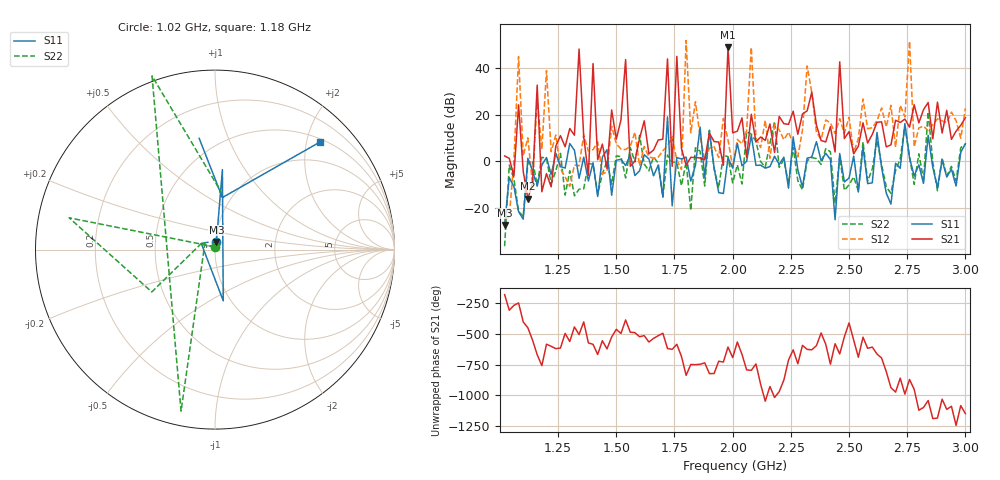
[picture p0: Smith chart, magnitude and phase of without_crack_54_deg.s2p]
# MHz S MA R 50
!  freq  S11  S21  S12  S22
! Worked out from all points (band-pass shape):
!   100 points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, 1.02 GHz to 3 GHz, reference 50 ohm
!   highest |S21| = 49.12 dB at 1.98 GHz (marker M1); lowest = -16.0 dB at 1.12 GHz (marker M2)
!   |S21| within 3 dB of the highest: 1.338896 GHz to 1.341087 GHz (2.191 MHz wide, 0.164 % of centre); 1.978818 GHz to 1.981626 GHz (2.808 MHz wide, 0.142 % of centre)
!   lowest |S11| = -27.3 dB at 1.02 GHz (marker M3), VSWR 1.09, Z = 50.6 + j4.31 ohm
!   |S11| at or under -10 dB: 1.056 GHz to 1.111 GHz (55.47 MHz wide, 5.12 % of centre); 1.934 GHz to 1.965 GHz (31.34 MHz wide, 1.61 % of centre); 2.653 GHz to 2.69 GHz (36.22 MHz wide, 1.36 % of centre) (the widest 3 of 15)
!   |S22| runs from -36.4 to 21.3 dB; largest |S21 - S12| = 3.9e+02
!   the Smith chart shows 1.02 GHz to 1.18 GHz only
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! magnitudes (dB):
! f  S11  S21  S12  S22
! 1.02 GHz  -27.3  2.3  -24.9  -36.4
! 1.08 GHz  -21.6  24.3  44.9  -21.6
! 1.12 GHz  1.3  -16.0  10.1  -0.7
! 1.16 GHz  -10.7  32.7  26.9  -10.1
! 1.18 GHz  -1.6  -13.0  5.2  1.8
! 1.34 GHz  -7.3  48.2  -1.9  -11.9
! 1.36 GHz  1.8  10.6  11.3  -11.8
! 1.68 GHz  -1.7  9.1  1.8  -0.8
! 1.72 GHz  19.0  44.0  6.6  2.7
! 1.74 GHz  -19.1  -2.1  10.5  -0.2
! 1.76 GHz  1.6  45.1  0.5  -0.5
! 1.78 GHz  1.0  5.6  -3.5  -10.4
! 1.8 GHz  1.8  -1.7  51.9  -0.2
! 1.82 GHz  -8.5  1.7  12.3  -21.1
! 1.96 GHz  -13.8  -1.7  18.4  2.6
! 1.98 GHz  1.5  49.1  9.2  2.0
! 2.02 GHz  7.7  12.9  9.4  -1.5
! 2.08 GHz  11.2  20.2  48.9  11.7
! 2.16 GHz  -2.3  16.1  1.3  7.7
! 2.34 GHz  1.9  29.7  29.5  1.6
! 2.68 GHz  -18.4  7.1  24.0  -13.7
! 3 GHz  7.5  18.7  22.7  7.5
